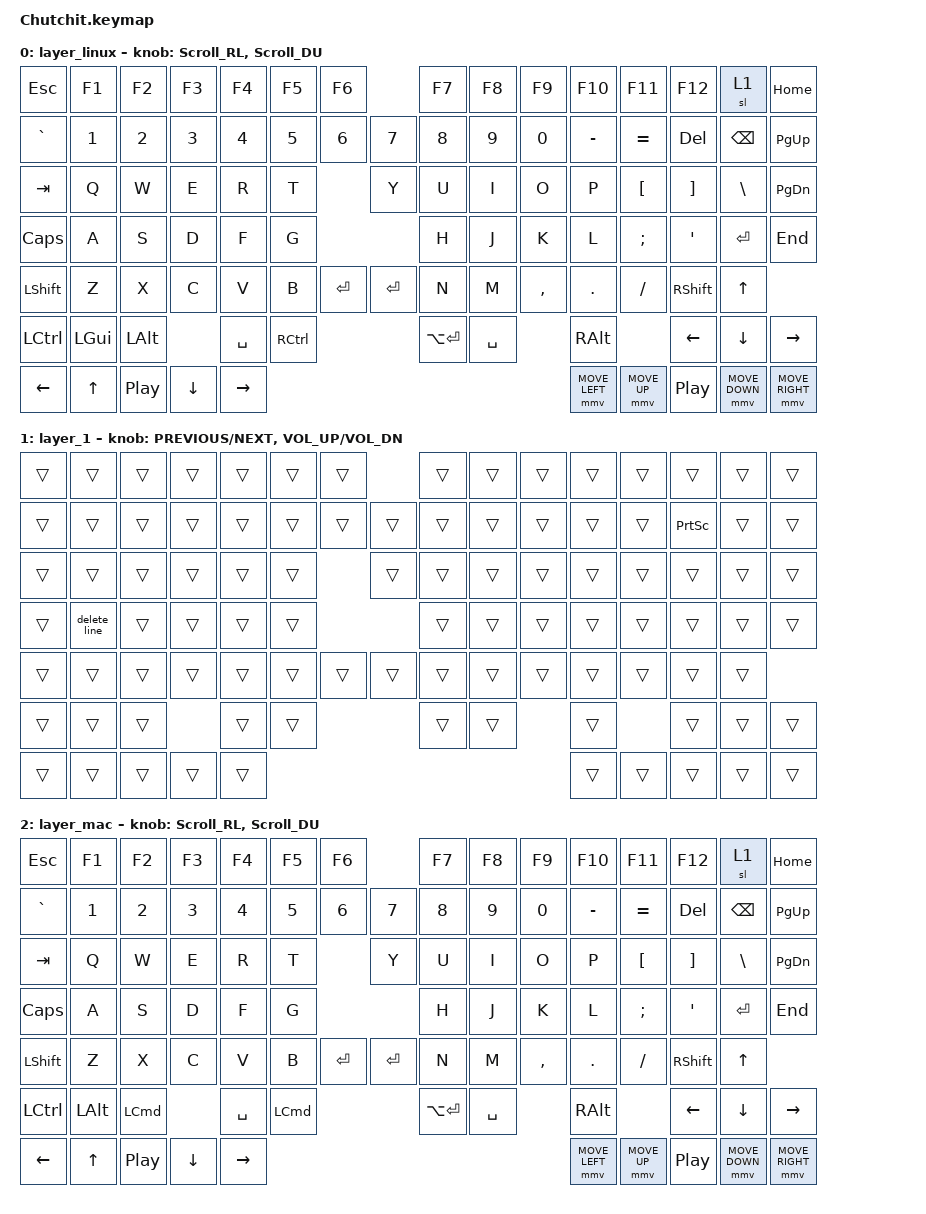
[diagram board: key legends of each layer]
/*
 * Copyright (c) 2020 The ZMK Contributors
 *
 * SPDX-License-Identifier: MIT
 */

#include <input/processors.dtsi>
#include <zephyr/dt-bindings/input/input-event-codes.h>
#include <dt-bindings/zmk/mouse.h>
#include <behaviors/mouse_keys.dtsi>
#include <behaviors.dtsi>
#include <dt-bindings/zmk/keys.h>
#include <dt-bindings/zmk/pointing.h>

#define DEFAULT 0
#define LOWER  1
#define RAISE  2
#define ADJUST 3
#define FUNCTION 4

/* NOTE: At the time of the creation of this keymap, there are no specified codes for 'eisuu' and 'kana' input in ZMK.
However, 'LANG1' and 'LANG2' are fully-functioning candidates for 'kana' and 'eisuu' input respectively.
As such, those are in use within the default layer at this time.*/

&mmv_input_listener { input-processors = <&zip_xy_scaler 2 1>; };

&msc_input_listener { input-processors = <&zip_scroll_scaler 2 1>; };

&msc {
    acceleration-exponent = <1>;      // 0
    time-to-max-speed-ms = <100>;       // 300
    delay-ms = <0>;                   // 0
};

&mmv {
    time-to-max-speed-ms = <500>;
    acceleration-exponent = <1>;
    trigger-period-ms = <16>;
};

&soft_off {
    hold-time-ms = <3000>; // Only turn off it the key is held for 3 seconds or longer.
};

&mt {
    tapping-term-ms = <300>;
    flavor = "balanced";
};

&lt { tapping-term-ms = <300>; };

#define ZMK_POINTING_DEFAULT_MOVE_VAL 1200  // 600
#define ZMK_POINTING_DEFAULT_SCRL_VAL 900   // mousescroll SPEED

/ {
    behaviors {
        Scroll_DU: Scroll_DU {
            compatible = "zmk,behavior-sensor-rotate";
            label = "SCROLL_DU";
            #sensor-binding-cells = <0>;
            bindings = <&msc SCRL_DOWN>, <&msc SCRL_UP>;

            tap-ms = <20>;
        };

        Scroll_UD: Scroll_UD {
            compatible = "zmk,behavior-sensor-rotate";
            label = "SCROLL_UD";
            #sensor-binding-cells = <0>;
            bindings = <&msc SCRL_UP>, <&msc SCRL_DOWN>;

            tap-ms = <20>;
        };

        Scroll_RL: Scroll_RL {
            compatible = "zmk,behavior-sensor-rotate";
            label = "SCROLL_RL";
            #sensor-binding-cells = <0>;
            bindings = <&msc SCRL_RIGHT>, <&msc SCRL_LEFT>;

            tap-ms = <20>;
        };

        Scroll_LR: Scroll_LR {
            compatible = "zmk,behavior-sensor-rotate";
            label = "SCROLL_LR";
            #sensor-binding-cells = <0>;
            bindings = <&msc SCRL_LEFT>, <&msc SCRL_RIGHT>;

            tap-ms = <20>;
        };

        Td_01: Td_01 {
            compatible = "zmk,behavior-tap-dance";
            label = "TD_01";
            #binding-cells = <0>;
            bindings = <&kp EQUAL>, <&kp ASTRK>, <&kp SLASH>, <&kp PAUSE_BREAK>;
        };
    };

    combos {
        compatible = "zmk,combos";

        layer_linux {
            bindings = <&to 0>;
            key-positions = <36 55>;
        };

        layer_mac {
            bindings = <&to 2>;
            key-positions = <36 69>;
        };
    };

    macros {
        delete_line: delete_line {
            compatible = "zmk,behavior-macro";
            #binding-cells = <0>;
            bindings = <&kp LS(HOME) &kp D &kp E &kp L &kp BACKSPACE &kp BACKSPACE &kp BACKSPACE>;
            label = "DELETE_LINE";
        };

        switch_lang: switch_lang {
            compatible = "zmk,behavior-macro";
            #binding-cells = <0>;
            bindings = <&kp LA(LC(LS(GRAVE)))>;
            label = "SWITCH_LANG";
        };
    };

    keymap {
        compatible = "zmk,keymap";

        layer_linux {
            bindings = <
&kp ESC    &kp F1    &kp F2            &kp F3    &kp F4     &kp F5     &kp F6            &kp F7         &kp F8     &kp F9     &kp F10         &kp F11       &kp F12           &sl 1           &kp HOME
&kp GRAVE  &kp N1    &kp N2            &kp N3    &kp N4     &kp N5     &kp N6   &kp N7   &kp N8         &kp N9     &kp N0     &kp MINUS       &kp EQUAL     &kp DELETE        &kp BACKSPACE   &kp PAGE_UP
&kp TAB    &kp Q     &kp W             &kp E     &kp R      &kp T               &kp Y    &kp U          &kp I      &kp O      &kp P           &kp LBKT      &kp RBKT          &kp BACKSLASH   &kp PAGE_DOWN
&kp CAPS   &kp A     &kp S             &kp D     &kp F      &kp G                        &kp H          &kp J      &kp K      &kp L           &kp SEMI      &kp SQT           &kp RET         &kp END
&kp LSHFT  &kp Z     &kp X             &kp C     &kp V      &kp B      &kp RET  &kp RET  &kp N          &kp M      &kp COMMA  &kp DOT         &kp FSLH      &kp RSHFT         &kp UP
&kp LCTRL  &kp LGUI  &kp LALT                    &kp SPACE  &kp RCTRL                    &kp LA(ENTER)  &kp SPACE             &kp RIGHT_ALT                 &kp LEFT          &kp DOWN        &kp RIGHT
&kp LEFT   &kp UP    &kp C_PLAY_PAUSE  &kp DOWN  &kp RIGHT                                                                    &mmv MOVE_LEFT  &mmv MOVE_UP  &kp C_PLAY_PAUSE  &mmv MOVE_DOWN  &mmv MOVE_RIGHT
            >;

            sensor-bindings = <&Scroll_RL>, <&Scroll_DU>;
        };

        layer_1 {
            bindings = <
&trans  &trans        &trans  &trans  &trans  &trans  &trans          &trans  &trans  &trans  &trans  &trans  &trans           &trans  &trans
&trans  &trans        &trans  &trans  &trans  &trans  &trans  &trans  &trans  &trans  &trans  &trans  &trans  &kp PRINTSCREEN  &trans  &trans
&trans  &trans        &trans  &trans  &trans  &trans          &trans  &trans  &trans  &trans  &trans  &trans  &trans           &trans  &trans
&trans  &delete_line  &trans  &trans  &trans  &trans                  &trans  &trans  &trans  &trans  &trans  &trans           &trans  &trans
&trans  &trans        &trans  &trans  &trans  &trans  &trans  &trans  &trans  &trans  &trans  &trans  &trans  &trans           &trans
&trans  &trans        &trans          &trans  &trans                  &trans  &trans          &trans          &trans           &trans  &trans
&trans  &trans        &trans  &trans  &trans                                                  &trans  &trans  &trans           &trans  &trans
            >;

            sensor-bindings =
                <&inc_dec_kp C_PREVIOUS C_NEXT>,
                <&inc_dec_kp C_VOLUME_UP C_VOL_DN>;
        };

        layer_mac {
            bindings = <
&kp ESC    &kp F1        &kp F2            &kp F3    &kp F4     &kp F5            &kp F6            &kp F7         &kp F8     &kp F9     &kp F10         &kp F11       &kp F12           &sl 1           &kp HOME
&kp GRAVE  &kp N1        &kp N2            &kp N3    &kp N4     &kp N5            &kp N6   &kp N7   &kp N8         &kp N9     &kp N0     &kp MINUS       &kp EQUAL     &kp DELETE        &kp BACKSPACE   &kp PAGE_UP
&kp TAB    &kp Q         &kp W             &kp E     &kp R      &kp T                      &kp Y    &kp U          &kp I      &kp O      &kp P           &kp LBKT      &kp RBKT          &kp BACKSLASH   &kp PAGE_DOWN
&kp CAPS   &kp A         &kp S             &kp D     &kp F      &kp G                               &kp H          &kp J      &kp K      &kp L           &kp SEMI      &kp SQT           &kp RET         &kp END
&kp LSHFT  &kp Z         &kp X             &kp C     &kp V      &kp B             &kp RET  &kp RET  &kp N          &kp M      &kp COMMA  &kp DOT         &kp FSLH      &kp RSHFT         &kp UP
&kp LCTRL  &kp LEFT_ALT  &kp LEFT_COMMAND            &kp SPACE  &kp LEFT_COMMAND                    &kp LA(ENTER)  &kp SPACE             &kp RIGHT_ALT                 &kp LEFT          &kp DOWN        &kp RIGHT
&kp LEFT   &kp UP        &kp C_PLAY_PAUSE  &kp DOWN  &kp RIGHT                                                                           &mmv MOVE_LEFT  &mmv MOVE_UP  &kp C_PLAY_PAUSE  &mmv MOVE_DOWN  &mmv MOVE_RIGHT
            >;

            sensor-bindings = <&Scroll_RL>, <&Scroll_DU>;
        };
    };
};
